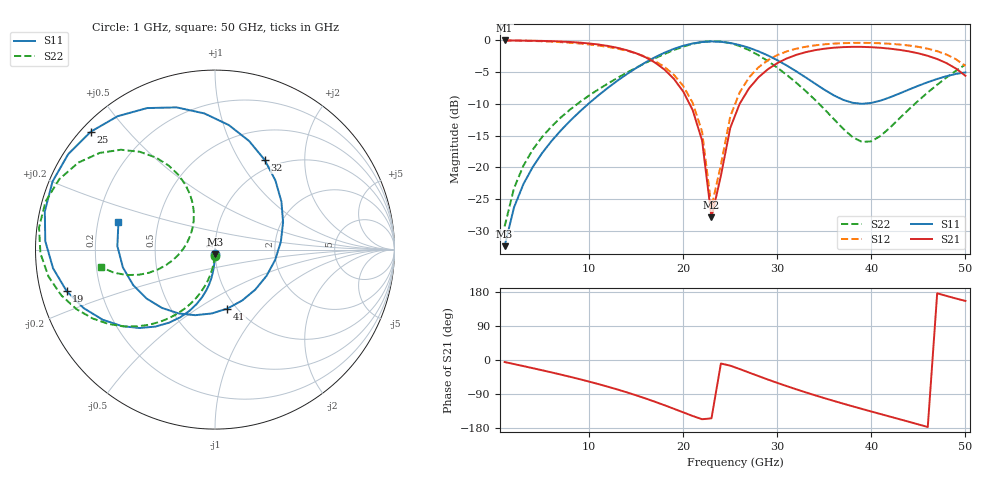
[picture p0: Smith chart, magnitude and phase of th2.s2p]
! Impedora 0.10.0 via model, case th2 (fullwave/cases.json), 2026-11-19
! Through via with a long stub: stripline 0.15 mm below the top plane (as the second blind via), barrel running on through a 1.0 mm plane pair: with its pads and traces, ports at the far end of each trace, after the 3D port calibration.
! Ports: 1 = upper end, 2 = lower end, 50 ohm.
! Compared with the edge 3D mesh.
# Hz S RI R 50
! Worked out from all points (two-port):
!   50 points, 1 GHz to 50 GHz, reference 50 ohm
!   highest |S21| = 0.00 dB at 1 GHz (marker M1); lowest = -27.9 dB at 23 GHz (marker M2)
!   |S21| within 3 dB of the highest: start of sweep to 16.4 GHz; 30.78 GHz to 47.11 GHz (16.33 GHz wide, 41.9 % of centre)
!   lowest |S11| = -32.5 dB at 1 GHz (marker M3), VSWR 1.05, Z = 49.9 - j2.38 ohm
!   |S11| at or under -10 dB: start of sweep to 9.913 GHz
!   |S22| runs from -29.4 to -0.1 dB; largest |S21 - S12| = 1.5
!   S11 on the Smith chart (normalised r, x): 1 GHz: 1.00, -0.05; 19 GHz: 0.08, -0.14; 25 GHz: 0.03, +0.40; 32 GHz: 0.87, +1.29; 41 GHz: 0.91, -0.67; 50 GHz: 0.29, +0.13
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1e9  -0.000331 -0.0238  0.9954 -0.0931  0.9983 -0.047  -0.00149 -0.034
2e9  -0.0014 -0.0482  0.9814 -0.1856  0.9932 -0.0939  -0.00599 -0.068
4e9  -0.0069 -0.1003  0.9251 -0.366  0.9726 -0.1872  -0.0243 -0.1357
1e10  -0.1026 -0.3036  0.5141 -0.7948  0.8123 -0.4515  -0.1676 -0.328
1.4e10  -0.3323 -0.4289  0.0674 -0.8349  0.5935 -0.5794  -0.3672 -0.4188
1.6e10  -0.5199 -0.426  -0.1479 -0.7206  0.4399 -0.5998  -0.5105 -0.4277
1.8e10  -0.7309 -0.3266  -0.2885 -0.5137  0.2617 -0.5603  -0.6814 -0.3839
1.9e10  -0.8269 -0.2308  -0.3111 -0.3885  0.1711 -0.5076  -0.7714 -0.332
2.1e10  -0.9456 0.047  -0.2385 -0.1506  0.0245 -0.3207  -0.9276 -0.1502
2.2e10  -0.9482 0.213  -0.1487 -0.0652  -0.00834 -0.1903  -0.9727 -0.0212
2.3e10  -0.9052 0.3795  -0.0361 -0.0177  0.00101 -0.0483  -0.9804 0.1229
2.5e10  -0.6934 0.656  0.1977 -0.0528  0.1557 0.1979  -0.868 0.3918
2.6e10  -0.5426 0.7431  0.2897 -0.1283  0.2816 0.2689  -0.7619 0.4845
2.9e10  -0.0595 0.7588  0.3685 -0.4645  0.6563 0.2396  -0.4183 0.5448
3.2e10  0.2765 0.5002  0.1701 -0.7498  0.8598 0.021  -0.2047 0.4173
3.4e10  0.37 0.2682  -0.0441 -0.8366  0.9042 -0.1387  -0.1401 0.3103
3.8e10  0.2866 -0.1472  -0.4741 -0.7534  0.861 -0.4157  -0.1254 0.1188
4.1e10  0.0696 -0.3283  -0.6963 -0.5297  0.7542 -0.5768  -0.177 0.00408
4.2e10  -0.0184 -0.3559  -0.7419 -0.4371  0.7068 -0.6211  -0.2038 -0.0289
4.6e10  -0.3808 -0.273  -0.7551 -0.0413  0.4542 -0.7312  -0.3667 -0.1287
4.8e10  -0.5132 -0.0995  -0.6501 0.1255  0.2924 -0.7161  -0.4904 -0.1418
5e10  -0.5379 0.1537  -0.4806 0.2146  0.1371 -0.6145  -0.6379 -0.0965
